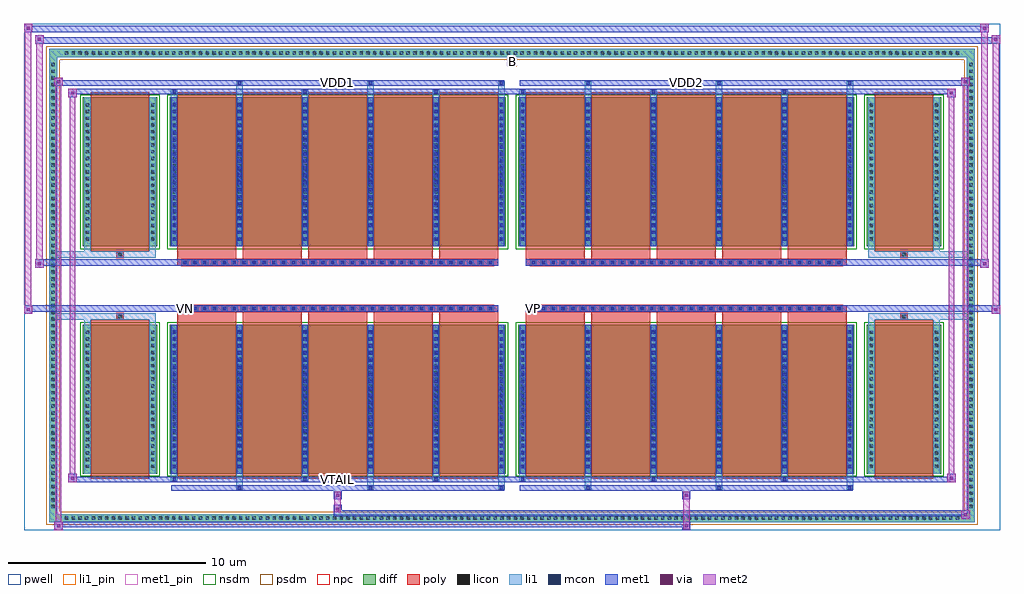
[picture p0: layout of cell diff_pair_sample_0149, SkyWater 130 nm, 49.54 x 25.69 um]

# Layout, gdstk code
import gdstk
lib = gdstk.Library(unit=1e-6, precision=5e-09)
def R(c, l, rs):  # rectangles x0, y0, x1, y1
    for r in rs: c.add(gdstk.rectangle(r[:2], r[2:], *l))
def A(c, l, x, y, w, h, nx, ny, dx, dy):  # array of equal rectangles
    R(c, l, [(x+i*dx, y+j*dy, x+i*dx+w, y+j*dy+h) for i in range(nx) for j in range(ny)])
def P(c, l, *ps):  # polygons
    for p in ps: c.add(gdstk.Polygon(p, *l))
pwell = (64, 44)
diff = (65, 20)
poly = (66, 20)
licon = (66, 44)
li1_pin = (67, 16)
li1 = (67, 20)
mcon = (67, 44)
met1_pin = (68, 16)
met1 = (68, 20)
via = (68, 44)
met2 = (69, 20)
nsdm = (93, 44)
psdm = (94, 20)
npc = (95, 20)

diff_pair_sample_0149 = lib.new_cell('diff_pair_sample_0149')
R(diff_pair_sample_0149, pwell, [(-24.77,-12.41,24.77,13.28), (-22.09,-10.6,-0.01,-0.8), (0.01,-10.6,22.09,-0.8), (-22.09,0.8,-0.01,10.6), (0.01,0.8,22.09,10.6)])
A(diff_pair_sample_0149, diff, -22.815, -12.01, 0.41, 0.41, 134, 2, 0.34, 23.61)
A(diff_pair_sample_0149, diff, -23.5, -11.425, 0.41, 0.41, 1, 67, 0, 0.34)
A(diff_pair_sample_0149, diff, 23.09, -11.425, 0.41, 0.41, 1, 67, 0, 0.34)
R(diff_pair_sample_0149, diff, [(-22.815,-12.01,22.815,-11.6), (-23.5,-11.425,-23.09,11.425), (23.09,-11.425,23.5,11.425), (-21.78,-9.555,-18.01,-1.985), (-17.37,-9.555,-0.32,-1.985), (0.32,-9.555,17.37,-1.985), (18.01,-9.555,21.78,-1.985), (-21.78,1.985,-18.01,9.555), (-17.37,1.985,-0.32,9.555), (0.32,1.985,17.37,9.555), (18.01,1.985,21.78,9.555), (-22.815,11.6,22.815,12.01)])
P(diff_pair_sample_0149, diff, [(23.5,12.01),(-23.5,12.01),(-23.5,-11.6),(-23.09,-11.6),(-23.09,11.6),(23.09,11.6),(23.09,-11.6),(-23.09,-11.6),(-23.5,-11.6),(-23.5,-12.01),(23.5,-12.01)])
A(diff_pair_sample_0149, poly, -16.98, -9.805, 2.99, 8.07, 5, 2, 3.32, 11.54)
A(diff_pair_sample_0149, poly, 0.71, -9.805, 2.99, 8.07, 5, 2, 3.32, 11.54)
A(diff_pair_sample_0149, poly, -16.98, -1.735, 2.99, 0.405, 5, 2, 3.32, 3.065)
A(diff_pair_sample_0149, poly, 0.71, -1.735, 2.99, 0.405, 5, 2, 3.32, 3.065)
A(diff_pair_sample_0149, poly, -16.76, -1.33, 0.33, 0.33, 32, 2, 0.5, 2.33)
A(diff_pair_sample_0149, poly, 0.93, -1.33, 0.33, 0.33, 32, 2, 0.5, 2.33)
R(diff_pair_sample_0149, poly, [(-21.39,-9.805,-18.4,-1.735), (18.4,-9.805,21.39,-1.735), (-20.06,-1.735,-19.73,-1.405), (-20.06,-1.735,-19.73,-1.405), (19.73,-1.735,20.06,-1.405), (19.73,-1.735,20.06,-1.405), (-16.98,-1.33,-0.71,-1), (0.71,-1.33,16.98,-1), (-16.98,1,-0.71,1.33), (0.71,1,16.98,1.33), (-20.06,1.405,-19.73,1.735), (-20.06,1.405,-19.73,1.735), (19.73,1.405,20.06,1.735), (19.73,1.405,20.06,1.735), (-21.39,1.735,-18.4,9.805), (18.4,1.735,21.39,9.805)])
A(diff_pair_sample_0149, licon, -22.695, -11.89, 0.17, 0.17, 134, 2, 0.34, 23.61)
A(diff_pair_sample_0149, licon, -23.38, -11.305, 0.17, 0.17, 1, 67, 0, 0.34)
A(diff_pair_sample_0149, licon, 23.21, -11.305, 0.17, 0.17, 1, 67, 0, 0.34)
A(diff_pair_sample_0149, licon, -21.64, -9.255, 0.17, 0.17, 1, 21, 0, 0.34)
A(diff_pair_sample_0149, licon, -18.32, -9.255, 0.17, 0.17, 1, 21, 0, 0.34)
A(diff_pair_sample_0149, licon, -17.23, -9.255, 0.17, 0.17, 6, 21, 3.32, 0.34)
A(diff_pair_sample_0149, licon, 0.46, -9.255, 0.17, 0.17, 6, 21, 3.32, 0.34)
A(diff_pair_sample_0149, licon, 18.15, -9.255, 0.17, 0.17, 1, 21, 0, 0.34)
A(diff_pair_sample_0149, licon, 21.47, -9.255, 0.17, 0.17, 1, 21, 0, 0.34)
A(diff_pair_sample_0149, licon, -16.68, -1.25, 0.17, 0.17, 32, 2, 0.5, 2.33)
A(diff_pair_sample_0149, licon, 1.01, -1.25, 0.17, 0.17, 32, 2, 0.5, 2.33)
A(diff_pair_sample_0149, licon, -21.64, 2.285, 0.17, 0.17, 1, 21, 0, 0.34)
A(diff_pair_sample_0149, licon, -18.32, 2.285, 0.17, 0.17, 1, 21, 0, 0.34)
A(diff_pair_sample_0149, licon, -17.23, 2.285, 0.17, 0.17, 6, 21, 3.32, 0.34)
A(diff_pair_sample_0149, licon, 0.46, 2.285, 0.17, 0.17, 6, 21, 3.32, 0.34)
A(diff_pair_sample_0149, licon, 18.15, 2.285, 0.17, 0.17, 1, 21, 0, 0.34)
A(diff_pair_sample_0149, licon, 21.47, 2.285, 0.17, 0.17, 1, 21, 0, 0.34)
R(diff_pair_sample_0149, licon, [(-19.98,-1.655,-19.81,-1.485), (19.81,-1.655,19.98,-1.485), (-19.98,1.485,-19.81,1.655), (19.81,1.485,19.98,1.655)])
R(diff_pair_sample_0149, li1_pin, [(-0.25,11.1,0.25,11.6)])
A(diff_pair_sample_0149, li1, -22.775, -11.97, 0.33, 0.33, 134, 2, 0.34, 23.61)
A(diff_pair_sample_0149, li1, -23.46, -11.385, 0.33, 0.33, 1, 67, 0, 0.34)
A(diff_pair_sample_0149, li1, 23.13, -11.385, 0.33, 0.33, 1, 67, 0, 0.34)
A(diff_pair_sample_0149, li1, -13.99, -10.36, 0.33, 0.805, 3, 2, 6.64, 19.915)
A(diff_pair_sample_0149, li1, -13.91, -10.36, 0.17, 0.17, 3, 2, 6.64, 20.55)
A(diff_pair_sample_0149, li1, 3.7, -10.36, 0.33, 0.805, 3, 2, 6.64, 19.915)
A(diff_pair_sample_0149, li1, 3.78, -10.36, 0.17, 0.17, 3, 2, 6.64, 20.55)
A(diff_pair_sample_0149, li1, -17.31, -9.93, 0.33, 0.375, 3, 2, 6.64, 19.485)
A(diff_pair_sample_0149, li1, -17.23, -9.93, 0.17, 0.17, 3, 2, 6.64, 19.69)
A(diff_pair_sample_0149, li1, 0.38, -9.93, 0.33, 0.375, 3, 2, 6.64, 19.485)
A(diff_pair_sample_0149, li1, 0.46, -9.93, 0.17, 0.17, 3, 2, 6.64, 19.69)
A(diff_pair_sample_0149, li1, -17.31, -9.555, 0.33, 7.57, 6, 2, 3.32, 11.54)
A(diff_pair_sample_0149, li1, 0.38, -9.555, 0.33, 7.57, 6, 2, 3.32, 11.54)
A(diff_pair_sample_0149, li1, -21.72, -9.335, 0.33, 0.33, 1, 21, 0, 0.34)
A(diff_pair_sample_0149, li1, -18.4, -9.335, 0.33, 0.33, 1, 21, 0, 0.34)
A(diff_pair_sample_0149, li1, -17.31, -9.335, 0.33, 0.33, 6, 21, 3.32, 0.34)
A(diff_pair_sample_0149, li1, 0.38, -9.335, 0.33, 0.33, 6, 21, 3.32, 0.34)
A(diff_pair_sample_0149, li1, 18.07, -9.335, 0.33, 0.33, 1, 21, 0, 0.34)
A(diff_pair_sample_0149, li1, 21.39, -9.335, 0.33, 0.33, 1, 21, 0, 0.34)
A(diff_pair_sample_0149, li1, -17.23, -9.275, 0.17, 0.17, 6, 20, 3.32, 0.36)
A(diff_pair_sample_0149, li1, -17.23, -9.275, 0.17, 7.01, 6, 2, 3.32, 11.54)
A(diff_pair_sample_0149, li1, 0.46, -9.275, 0.17, 0.17, 6, 20, 3.32, 0.36)
A(diff_pair_sample_0149, li1, 0.46, -9.275, 0.17, 7.01, 6, 2, 3.32, 11.54)
A(diff_pair_sample_0149, li1, -16.76, -1.33, 0.33, 0.33, 32, 2, 0.5, 2.33)
A(diff_pair_sample_0149, li1, 0.93, -1.33, 0.33, 0.33, 32, 2, 0.5, 2.33)
A(diff_pair_sample_0149, li1, -21.72, 2.205, 0.33, 0.33, 1, 21, 0, 0.34)
A(diff_pair_sample_0149, li1, -18.4, 2.205, 0.33, 0.33, 1, 21, 0, 0.34)
A(diff_pair_sample_0149, li1, -17.31, 2.205, 0.33, 0.33, 6, 21, 3.32, 0.34)
A(diff_pair_sample_0149, li1, 0.38, 2.205, 0.33, 0.33, 6, 21, 3.32, 0.34)
A(diff_pair_sample_0149, li1, 18.07, 2.205, 0.33, 0.33, 1, 21, 0, 0.34)
A(diff_pair_sample_0149, li1, 21.39, 2.205, 0.33, 0.33, 1, 21, 0, 0.34)
A(diff_pair_sample_0149, li1, -17.23, 2.265, 0.17, 0.17, 6, 20, 3.32, 0.36)
A(diff_pair_sample_0149, li1, 0.46, 2.265, 0.17, 0.17, 6, 20, 3.32, 0.36)
R(diff_pair_sample_0149, li1, [(-23.5,-12.01,-23.09,-11.6), (-23.5,-12.01,-23.09,-11.6), (-23.09,-12.01,23.09,-11.6), (23.09,-12.01,23.5,-11.6), (23.09,-12.01,23.5,-11.6), (-23.5,-11.6,-23.09,11.6), (23.09,-11.6,23.5,11.6), (-21.72,-9.555,-21.39,-1.985), (-18.4,-9.555,-18.07,-1.985), (18.07,-9.555,18.4,-1.985), (21.39,-9.555,21.72,-1.985), (-21.72,-1.985,-21.39,-1.405), (-18.4,-1.985,-18.07,-1.405), (18.07,-1.985,18.4,-1.405), (21.39,-1.985,21.72,-1.405), (-23.5,-1.735,-20.06,-1.405), (-21.72,-1.735,-20.06,-1.405), (-20.06,-1.735,-19.73,-1.405), (-19.73,-1.735,-18.07,-1.405), (18.07,-1.735,19.73,-1.405), (19.73,-1.735,20.06,-1.405), (19.73,-1.735,23.5,-1.405), (20.06,-1.735,21.72,-1.405), (-23.5,1.405,-20.06,1.735), (-21.72,1.405,-20.06,1.735), (-21.72,1.405,-21.39,1.985), (-20.06,1.405,-19.73,1.735), (-19.73,1.405,-18.07,1.735), (-18.4,1.405,-18.07,1.985), (18.07,1.405,19.73,1.735), (18.07,1.405,18.4,1.985), (19.73,1.405,20.06,1.735), (19.73,1.405,23.5,1.735), (20.06,1.405,21.72,1.735), (21.39,1.405,21.72,1.985), (-21.72,1.985,-21.39,9.555), (-18.4,1.985,-18.07,9.555), (18.07,1.985,18.4,9.555), (21.39,1.985,21.72,9.555), (-23.5,11.6,-23.09,12.01), (-23.5,11.6,-23.09,12.01), (-23.09,11.6,23.09,12.01), (23.09,11.6,23.5,12.01), (23.09,11.6,23.5,12.01)])
A(diff_pair_sample_0149, mcon, -13.91, -10.36, 0.17, 0.17, 3, 2, 6.64, 20.55)
A(diff_pair_sample_0149, mcon, 3.78, -10.36, 0.17, 0.17, 3, 2, 6.64, 20.55)
A(diff_pair_sample_0149, mcon, -17.23, -9.93, 0.17, 0.17, 3, 2, 6.64, 19.69)
A(diff_pair_sample_0149, mcon, 0.46, -9.93, 0.17, 0.17, 3, 2, 6.64, 19.69)
A(diff_pair_sample_0149, mcon, -17.23, -9.275, 0.17, 0.17, 6, 20, 3.32, 0.36)
A(diff_pair_sample_0149, mcon, 0.46, -9.275, 0.17, 0.17, 6, 20, 3.32, 0.36)
A(diff_pair_sample_0149, mcon, -16.68, -1.25, 0.17, 0.17, 32, 2, 0.5, 2.33)
A(diff_pair_sample_0149, mcon, 1.01, -1.25, 0.17, 0.17, 32, 2, 0.5, 2.33)
A(diff_pair_sample_0149, mcon, -17.23, 2.265, 0.17, 0.17, 6, 20, 3.32, 0.36)
A(diff_pair_sample_0149, mcon, 0.46, 2.265, 0.17, 0.17, 6, 20, 3.32, 0.36)
R(diff_pair_sample_0149, met1_pin, [(-8.98,-9.97,-8.71,-9.7), (-16.73,-1.29,-16.46,-1.02), (0.96,-1.29,1.23,-1.02), (-8.98,10.15,-8.71,10.42), (8.71,10.15,8.98,10.42)])
A(diff_pair_sample_0149, met1, -13.97, -10.42, 0.29, 0.29, 3, 2, 6.64, 20.55)
A(diff_pair_sample_0149, met1, 3.72, -10.42, 0.29, 0.29, 3, 2, 6.64, 20.55)
A(diff_pair_sample_0149, met1, -17.29, -9.99, 0.29, 0.29, 3, 2, 6.64, 19.69)
A(diff_pair_sample_0149, met1, 0.4, -9.99, 0.29, 0.29, 3, 2, 6.64, 19.69)
A(diff_pair_sample_0149, met1, -17.29, -9.555, 0.29, 7.57, 6, 2, 3.32, 11.54)
A(diff_pair_sample_0149, met1, 0.4, -9.555, 0.29, 7.57, 6, 2, 3.32, 11.54)
A(diff_pair_sample_0149, met1, -17.29, -9.335, 0.29, 0.29, 6, 20, 3.32, 0.36)
A(diff_pair_sample_0149, met1, 0.4, -9.335, 0.29, 0.29, 6, 20, 3.32, 0.36)
A(diff_pair_sample_0149, met1, -16.74, -1.31, 0.29, 0.29, 32, 2, 0.5, 2.33)
A(diff_pair_sample_0149, met1, 0.95, -1.31, 0.29, 0.29, 32, 2, 0.5, 2.33)
A(diff_pair_sample_0149, met1, -17.29, 2.205, 0.29, 0.29, 6, 20, 3.32, 0.36)
A(diff_pair_sample_0149, met1, 0.4, 2.205, 0.29, 0.29, 6, 20, 3.32, 0.36)
R(diff_pair_sample_0149, met1, [(-23.23,-12.41,-22.8,-11.98), (8.63,-12.41,9.06,-11.98), (-23.23,-12.27,9.06,-11.98), (22.8,-11.84,23.23,-11.41), (-9.06,-11.7,23.23,-11.41), (-9.06,-11.56,-8.63,-11.13), (-9.06,-10.85,-8.63,-10.42), (8.63,-10.85,9.06,-10.42), (-17.29,-10.42,-0.4,-10.13), (0.4,-10.42,17.29,-10.13), (-22.52,-9.99,-22.09,-9.56), (-22.52,-9.99,-17.29,-9.7), (-17.29,-9.99,-0.4,-9.7), (-0.4,-9.99,0.4,-9.7), (0.4,-9.99,17.29,-9.7), (17.29,-9.99,22.52,-9.7), (22.09,-9.99,22.52,-9.56), (-24.77,-1.43,-24.34,-1), (24.34,-1.43,24.77,-1), (-24.77,-1.33,-0.71,-1), (-16.98,-1.33,-0.71,-1), (0.71,-1.33,16.98,-1), (0.71,-1.33,24.77,-1), (-24.2,0.9,-23.77,1.33), (23.77,0.9,24.2,1.33), (-24.2,1,-16.98,1.33), (-16.98,1,-0.71,1.33), (0.71,1,16.98,1.33), (16.98,1,24.2,1.33), (-22.52,9.56,-22.09,9.99), (22.09,9.56,22.52,9.99), (-22.52,9.7,-17.29,9.99), (-17.29,9.7,-0.4,9.99), (-0.4,9.7,0.4,9.99), (0.4,9.7,17.29,9.99), (17.29,9.7,22.52,9.99), (-23.23,10.13,-22.8,10.56), (-23.23,10.13,-17.29,10.42), (-17.29,10.13,-0.4,10.42), (0.4,10.13,17.29,10.42), (17.29,10.13,23.23,10.42), (22.8,10.13,23.23,10.56), (-24.2,12.28,-23.77,12.71), (-24.2,12.28,-22.09,12.61), (-22.09,12.28,22.09,12.61), (22.09,12.28,24.77,12.61), (24.34,12.28,24.77,12.71), (-24.77,12.85,-24.34,13.28), (-24.77,12.85,-22.09,13.18), (-22.09,12.85,22.09,13.18), (22.09,12.85,24.2,13.18), (23.77,12.85,24.2,13.28)])
R(diff_pair_sample_0149, via, [(-23.09,-12.27,-22.94,-12.12), (8.77,-12.27,8.92,-12.12), (22.94,-11.7,23.09,-11.55), (-8.92,-11.42,-8.77,-11.27), (-8.92,-10.71,-8.77,-10.56), (8.77,-10.71,8.92,-10.56), (-22.38,-9.85,-22.23,-9.7), (22.23,-9.85,22.38,-9.7), (-24.63,-1.29,-24.48,-1.14), (24.48,-1.29,24.63,-1.14), (-24.06,1.04,-23.91,1.19), (23.91,1.04,24.06,1.19), (-22.38,9.7,-22.23,9.85), (22.23,9.7,22.38,9.85), (-23.09,10.27,-22.94,10.42), (22.94,10.27,23.09,10.42), (-24.06,12.42,-23.91,12.57), (24.48,12.42,24.63,12.57), (-24.63,12.99,-24.48,13.14), (23.91,12.99,24.06,13.14)])
R(diff_pair_sample_0149, met2, [(-23.23,-12.41,-22.8,-11.98), (-23.16,-12.41,-22.87,10.56), (-22.87,-12.41,-22.8,-11.98), (-23.18,-12.36,-22.85,-12.03), (8.68,-12.36,9.01,-12.03), (8.68,-12.03,9.01,-10.8), (22.8,-11.84,23.23,-11.41), (22.87,-11.84,23.16,10.56), (23.16,-11.84,23.23,-11.41), (22.85,-11.79,23.18,-11.46), (-9.01,-11.51,-8.68,-11.18), (-9.01,-11.18,-8.68,-10.8), (-9.01,-10.8,-8.68,-10.47), (8.68,-10.8,9.01,-10.47), (-22.52,-9.99,-22.09,-9.56), (-22.45,-9.99,-22.16,9.99), (-22.16,-9.99,-22.09,-9.56), (22.09,-9.99,22.52,-9.56), (22.16,-9.99,22.45,9.99), (22.45,-9.99,22.52,-9.56), (-22.47,-9.94,-22.14,-9.61), (22.14,-9.94,22.47,-9.61), (-24.77,-1.43,-24.34,-1), (-24.72,-1.43,-24.39,13.28), (-24.39,-1.43,-24.34,-1), (24.34,-1.43,24.77,-1), (24.39,-1.43,24.72,12.71), (24.72,-1.43,24.77,-1), (-24.72,-1.38,-24.39,-1.05), (24.39,-1.38,24.72,-1.05), (-24.2,0.9,-23.77,1.33), (-24.15,0.9,-23.82,12.71), (-23.82,0.9,-23.77,1.33), (23.77,0.9,24.2,1.33), (23.82,0.9,24.15,13.28), (24.15,0.9,24.2,1.33), (-24.15,0.95,-23.82,1.28), (23.82,0.95,24.15,1.28), (-22.52,9.56,-22.09,9.99), (-22.16,9.56,-22.09,9.99), (22.09,9.56,22.52,9.99), (22.45,9.56,22.52,9.99), (-22.47,9.61,-22.14,9.94), (22.14,9.61,22.47,9.94), (-23.23,10.13,-22.8,10.56), (-22.87,10.13,-22.8,10.56), (22.8,10.13,23.23,10.56), (23.16,10.13,23.23,10.56), (-23.18,10.18,-22.85,10.51), (22.85,10.18,23.18,10.51), (-24.2,12.28,-23.77,12.71), (-23.82,12.28,-23.77,12.71), (24.34,12.28,24.77,12.71), (24.72,12.28,24.77,12.71), (-24.15,12.33,-23.82,12.66), (24.39,12.33,24.72,12.66), (-24.77,12.85,-24.34,13.28), (-24.39,12.85,-24.34,13.28), (23.77,12.85,24.2,13.28), (24.15,12.85,24.2,13.28), (-24.72,12.9,-24.39,13.23), (23.82,12.9,24.15,13.23)])
R(diff_pair_sample_0149, nsdm, [(-21.91,-9.685,-17.88,-1.855), (-17.5,-9.685,-0.19,-1.855), (0.19,-9.685,17.5,-1.855), (17.88,-9.685,21.91,-1.855), (-21.91,1.855,-17.88,9.685), (-17.5,1.855,-0.19,9.685), (0.19,1.855,17.5,9.685), (17.88,1.855,21.91,9.685)])
P(diff_pair_sample_0149, psdm, [(23.63,12.14),(-23.63,12.14),(-23.63,-11.47),(-22.96,-11.47),(-22.96,11.47),(22.96,11.47),(22.96,-11.47),(-22.96,-11.47),(-23.63,-11.47),(-23.63,-12.14),(23.63,-12.14)])
A(diff_pair_sample_0149, npc, -16.78, -1.35, 0.37, 0.37, 32, 2, 0.5, 2.33)
A(diff_pair_sample_0149, npc, 0.91, -1.35, 0.37, 0.37, 32, 2, 0.5, 2.33)
R(diff_pair_sample_0149, npc, [(-20.08,-1.755,-19.71,-1.385), (19.71,-1.755,20.08,-1.385), (-16.78,-1.35,-15.91,-0.98), (-16.78,-1.35,-15.91,-0.98), (-16.28,-1.35,-15.41,-0.98), (-16.28,-1.35,-15.41,-0.98), (-15.78,-1.35,-14.91,-0.98), (-15.78,-1.35,-14.91,-0.98), (-15.28,-1.35,-14.41,-0.98), (-15.28,-1.35,-14.41,-0.98), (-14.78,-1.35,-13.91,-0.98), (-14.78,-1.35,-13.91,-0.98), (-14.28,-1.35,-13.41,-0.98), (-14.28,-1.35,-13.41,-0.98), (-13.78,-1.35,-12.91,-0.98), (-13.78,-1.35,-12.91,-0.98), (-13.28,-1.35,-12.41,-0.98), (-13.28,-1.35,-12.41,-0.98), (-12.78,-1.35,-11.91,-0.98), (-12.78,-1.35,-11.91,-0.98), (-12.28,-1.35,-11.41,-0.98), (-12.28,-1.35,-11.41,-0.98), (-11.78,-1.35,-10.91,-0.98), (-11.78,-1.35,-10.91,-0.98), (-11.28,-1.35,-10.41,-0.98), (-11.28,-1.35,-10.41,-0.98), (-10.78,-1.35,-9.91,-0.98), (-10.78,-1.35,-9.91,-0.98), (-10.28,-1.35,-9.41,-0.98), (-10.28,-1.35,-9.41,-0.98), (-9.78,-1.35,-8.91,-0.98), (-9.78,-1.35,-8.91,-0.98), (-9.28,-1.35,-8.41,-0.98), (-9.28,-1.35,-8.41,-0.98), (-8.78,-1.35,-7.91,-0.98), (-8.78,-1.35,-7.91,-0.98), (-8.28,-1.35,-7.41,-0.98), (-8.28,-1.35,-7.41,-0.98), (-7.78,-1.35,-6.91,-0.98), (-7.78,-1.35,-6.91,-0.98), (-7.28,-1.35,-6.41,-0.98), (-7.28,-1.35,-6.41,-0.98), (-6.78,-1.35,-5.91,-0.98), (-6.78,-1.35,-5.91,-0.98), (-6.28,-1.35,-5.41,-0.98), (-6.28,-1.35,-5.41,-0.98), (-5.78,-1.35,-4.91,-0.98), (-5.78,-1.35,-4.91,-0.98), (-5.28,-1.35,-4.41,-0.98), (-5.28,-1.35,-4.41,-0.98), (-4.78,-1.35,-3.91,-0.98), (-4.78,-1.35,-3.91,-0.98), (-4.28,-1.35,-3.41,-0.98), (-4.28,-1.35,-3.41,-0.98), (-3.78,-1.35,-2.91,-0.98), (-3.78,-1.35,-2.91,-0.98), (-3.28,-1.35,-2.41,-0.98), (-3.28,-1.35,-2.41,-0.98), (-2.78,-1.35,-1.91,-0.98), (-2.78,-1.35,-1.91,-0.98), (-2.28,-1.35,-1.41,-0.98), (-2.28,-1.35,-1.41,-0.98), (-1.78,-1.35,-0.91,-0.98), (-1.78,-1.35,-0.91,-0.98), (0.91,-1.35,1.78,-0.98), (0.91,-1.35,1.78,-0.98), (1.41,-1.35,2.28,-0.98), (1.41,-1.35,2.28,-0.98), (1.91,-1.35,2.78,-0.98), (1.91,-1.35,2.78,-0.98), (2.41,-1.35,3.28,-0.98), (2.41,-1.35,3.28,-0.98), (2.91,-1.35,3.78,-0.98), (2.91,-1.35,3.78,-0.98), (3.41,-1.35,4.28,-0.98), (3.41,-1.35,4.28,-0.98), (3.91,-1.35,4.78,-0.98), (3.91,-1.35,4.78,-0.98), (4.41,-1.35,5.28,-0.98), (4.41,-1.35,5.28,-0.98), (4.91,-1.35,5.78,-0.98), (4.91,-1.35,5.78,-0.98), (5.41,-1.35,6.28,-0.98), (5.41,-1.35,6.28,-0.98), (5.91,-1.35,6.78,-0.98), (5.91,-1.35,6.78,-0.98), (6.41,-1.35,7.28,-0.98), (6.41,-1.35,7.28,-0.98), (6.91,-1.35,7.78,-0.98), (6.91,-1.35,7.78,-0.98), (7.41,-1.35,8.28,-0.98), (7.41,-1.35,8.28,-0.98), (7.91,-1.35,8.78,-0.98), (7.91,-1.35,8.78,-0.98), (8.41,-1.35,9.28,-0.98), (8.41,-1.35,9.28,-0.98), (8.91,-1.35,9.78,-0.98), (8.91,-1.35,9.78,-0.98), (9.41,-1.35,10.28,-0.98), (9.41,-1.35,10.28,-0.98), (9.91,-1.35,10.78,-0.98), (9.91,-1.35,10.78,-0.98), (10.41,-1.35,11.28,-0.98), (10.41,-1.35,11.28,-0.98), (10.91,-1.35,11.78,-0.98), (10.91,-1.35,11.78,-0.98), (11.41,-1.35,12.28,-0.98), (11.41,-1.35,12.28,-0.98), (11.91,-1.35,12.78,-0.98), (11.91,-1.35,12.78,-0.98), (12.41,-1.35,13.28,-0.98), (12.41,-1.35,13.28,-0.98), (12.91,-1.35,13.78,-0.98), (12.91,-1.35,13.78,-0.98), (13.41,-1.35,14.28,-0.98), (13.41,-1.35,14.28,-0.98), (13.91,-1.35,14.78,-0.98), (13.91,-1.35,14.78,-0.98), (14.41,-1.35,15.28,-0.98), (14.41,-1.35,15.28,-0.98), (14.91,-1.35,15.78,-0.98), (14.91,-1.35,15.78,-0.98), (15.41,-1.35,16.28,-0.98), (15.41,-1.35,16.28,-0.98), (15.91,-1.35,16.78,-0.98), (15.91,-1.35,16.78,-0.98), (-16.78,0.98,-15.91,1.35), (-16.78,0.98,-15.91,1.35), (-16.28,0.98,-15.41,1.35), (-16.28,0.98,-15.41,1.35), (-15.78,0.98,-14.91,1.35), (-15.78,0.98,-14.91,1.35), (-15.28,0.98,-14.41,1.35), (-15.28,0.98,-14.41,1.35), (-14.78,0.98,-13.91,1.35), (-14.78,0.98,-13.91,1.35), (-14.28,0.98,-13.41,1.35), (-14.28,0.98,-13.41,1.35), (-13.78,0.98,-12.91,1.35), (-13.78,0.98,-12.91,1.35), (-13.28,0.98,-12.41,1.35), (-13.28,0.98,-12.41,1.35), (-12.78,0.98,-11.91,1.35), (-12.78,0.98,-11.91,1.35), (-12.28,0.98,-11.41,1.35), (-12.28,0.98,-11.41,1.35), (-11.78,0.98,-10.91,1.35), (-11.78,0.98,-10.91,1.35), (-11.28,0.98,-10.41,1.35), (-11.28,0.98,-10.41,1.35), (-10.78,0.98,-9.91,1.35), (-10.78,0.98,-9.91,1.35), (-10.28,0.98,-9.41,1.35), (-10.28,0.98,-9.41,1.35), (-9.78,0.98,-8.91,1.35), (-9.78,0.98,-8.91,1.35), (-9.28,0.98,-8.41,1.35), (-9.28,0.98,-8.41,1.35), (-8.78,0.98,-7.91,1.35), (-8.78,0.98,-7.91,1.35), (-8.28,0.98,-7.41,1.35), (-8.28,0.98,-7.41,1.35), (-7.78,0.98,-6.91,1.35), (-7.78,0.98,-6.91,1.35), (-7.28,0.98,-6.41,1.35), (-7.28,0.98,-6.41,1.35), (-6.78,0.98,-5.91,1.35), (-6.78,0.98,-5.91,1.35), (-6.28,0.98,-5.41,1.35), (-6.28,0.98,-5.41,1.35), (-5.78,0.98,-4.91,1.35), (-5.78,0.98,-4.91,1.35), (-5.28,0.98,-4.41,1.35), (-5.28,0.98,-4.41,1.35), (-4.78,0.98,-3.91,1.35), (-4.78,0.98,-3.91,1.35), (-4.28,0.98,-3.41,1.35), (-4.28,0.98,-3.41,1.35), (-3.78,0.98,-2.91,1.35), (-3.78,0.98,-2.91,1.35), (-3.28,0.98,-2.41,1.35), (-3.28,0.98,-2.41,1.35), (-2.78,0.98,-1.91,1.35), (-2.78,0.98,-1.91,1.35), (-2.28,0.98,-1.41,1.35), (-2.28,0.98,-1.41,1.35), (-1.78,0.98,-0.91,1.35), (-1.78,0.98,-0.91,1.35), (0.91,0.98,1.78,1.35), (0.91,0.98,1.78,1.35), (1.41,0.98,2.28,1.35), (1.41,0.98,2.28,1.35), (1.91,0.98,2.78,1.35), (1.91,0.98,2.78,1.35), (2.41,0.98,3.28,1.35), (2.41,0.98,3.28,1.35), (2.91,0.98,3.78,1.35), (2.91,0.98,3.78,1.35), (3.41,0.98,4.28,1.35), (3.41,0.98,4.28,1.35), (3.91,0.98,4.78,1.35), (3.91,0.98,4.78,1.35), (4.41,0.98,5.28,1.35), (4.41,0.98,5.28,1.35), (4.91,0.98,5.78,1.35), (4.91,0.98,5.78,1.35), (5.41,0.98,6.28,1.35), (5.41,0.98,6.28,1.35), (5.91,0.98,6.78,1.35), (5.91,0.98,6.78,1.35), (6.41,0.98,7.28,1.35), (6.41,0.98,7.28,1.35), (6.91,0.98,7.78,1.35), (6.91,0.98,7.78,1.35), (7.41,0.98,8.28,1.35), (7.41,0.98,8.28,1.35), (7.91,0.98,8.78,1.35), (7.91,0.98,8.78,1.35), (8.41,0.98,9.28,1.35), (8.41,0.98,9.28,1.35), (8.91,0.98,9.78,1.35), (8.91,0.98,9.78,1.35), (9.41,0.98,10.28,1.35), (9.41,0.98,10.28,1.35), (9.91,0.98,10.78,1.35), (9.91,0.98,10.78,1.35), (10.41,0.98,11.28,1.35), (10.41,0.98,11.28,1.35), (10.91,0.98,11.78,1.35), (10.91,0.98,11.78,1.35), (11.41,0.98,12.28,1.35), (11.41,0.98,12.28,1.35), (11.91,0.98,12.78,1.35), (11.91,0.98,12.78,1.35), (12.41,0.98,13.28,1.35), (12.41,0.98,13.28,1.35), (12.91,0.98,13.78,1.35), (12.91,0.98,13.78,1.35), (13.41,0.98,14.28,1.35), (13.41,0.98,14.28,1.35), (13.91,0.98,14.78,1.35), (13.91,0.98,14.78,1.35), (14.41,0.98,15.28,1.35), (14.41,0.98,15.28,1.35), (14.91,0.98,15.78,1.35), (14.91,0.98,15.78,1.35), (15.41,0.98,16.28,1.35), (15.41,0.98,16.28,1.35), (15.91,0.98,16.78,1.35), (15.91,0.98,16.78,1.35), (-20.08,1.385,-19.71,1.755), (19.71,1.385,20.08,1.755)])
diff_pair_sample_0149.add(gdstk.Label('VTAIL', (-8.845,-9.835), layer=68, texttype=5))
diff_pair_sample_0149.add(gdstk.Label('VN', (-16.595,-1.155), layer=68, texttype=5))
diff_pair_sample_0149.add(gdstk.Label('VP', (1.095,-1.155), layer=68, texttype=5))
diff_pair_sample_0149.add(gdstk.Label('B', (0,11.35), layer=67, texttype=5))
diff_pair_sample_0149.add(gdstk.Label('VDD2', (8.845,10.285), layer=68, texttype=5))
diff_pair_sample_0149.add(gdstk.Label('VDD1', (-8.845,10.285), layer=68, texttype=5))

lib.write_gds('diff_pair_sample_0149.gds')
